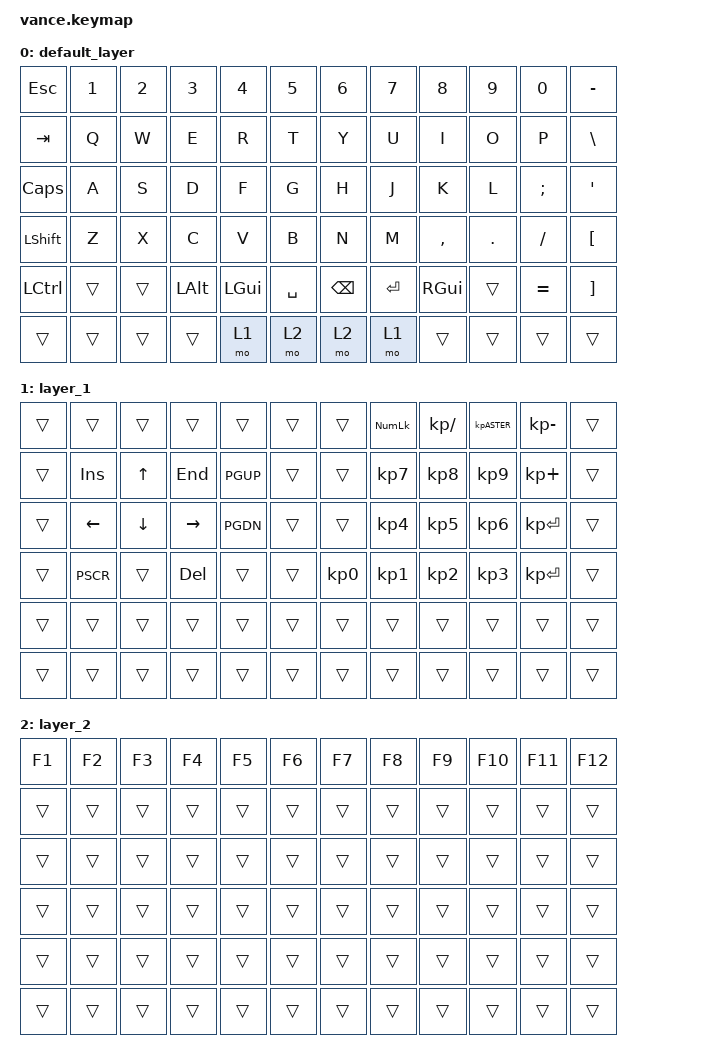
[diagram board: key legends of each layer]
#include <behaviors.dtsi>
#include <dt-bindings/zmk/keys.h>
#include <dt-bindings/zmk/bt.h>

 / {
     keymap {
         compatible = "zmk,keymap";

         default_layer {
             bindings = <
                 &kp ESC &kp N1 &kp N2 &kp N3 &kp N4 &kp N5 &kp N6 &kp N7 &kp N8 &kp N9 &kp N0 &kp MINUS
                 &kp TAB &kp Q &kp W &kp E &kp R &kp T &kp Y &kp U &kp I &kp O &kp P &kp BSLH
                 &kp CAPS &kp A &kp S &kp D &kp F &kp G &kp H &kp J &kp K &kp L &kp SEMI &kp APOS
                 &kp LSHIFT &kp Z &kp X &kp C &kp V &kp B &kp N &kp M &kp COMMA &kp DOT &kp FSLH &kp LBKT
                 &kp LCTRL &trans &trans &kp LALT &kp LGUI &kp SPACE &kp BSPC &kp RET &kp RGUI &trans &kp EQUAL &kp RBKT
                 &trans &trans &trans &trans &mo 1 &mo 2 &mo 2 &mo 1 &trans &trans &trans &trans
             >;
         };

         layer_1 {
             bindings = <
                 &trans &trans &trans &trans &trans &trans &trans &kp NUMLOCK &kp KP_SLASH &kp KP_ASTER &kp KP_MINUS &trans
                 &trans &kp INS &kp UP &kp END &kp PGUP &trans &trans &kp KP_7 &kp KP_8 &kp KP_9 &kp KP_PLUS &trans
                 &trans &kp LEFT &kp DOWN &kp RIGHT &kp PGDN &trans &trans &kp KP_4 &kp KP_5 &kp KP_6 &kp KP_ENTER &trans
                 &trans &kp PSCR &trans &kp DEL &trans &trans &kp KP_0 &kp KP_1 &kp KP_2 &kp KP_3 &kp KP_ENTER &trans
                 &trans &trans &trans &trans &trans &trans &trans &trans &trans &trans &trans &trans
                 &trans &trans &trans &trans &trans &trans &trans &trans &trans &trans &trans &trans
             >;
         };

         layer_2 {
             bindings = <
                 &kp F1 &kp F2 &kp F3 &kp F4 &kp F5 &kp F6 &kp F7 &kp F8 &kp F9 &kp F10 &kp F11 &kp F12
                 &trans &trans &trans &trans &trans &trans &trans &trans &trans &trans &trans &trans
                 &trans &trans &trans &trans &trans &trans &trans &trans &trans &trans &trans &trans
                 &trans &trans &trans &trans &trans &trans &trans &trans &trans &trans &trans &trans
                 &trans &trans &trans &trans &trans &trans &trans &trans &trans &trans &trans &trans
                 &trans &trans &trans &trans &trans &trans &trans &trans &trans &trans &trans &trans
             >;
         };
     };
 };

